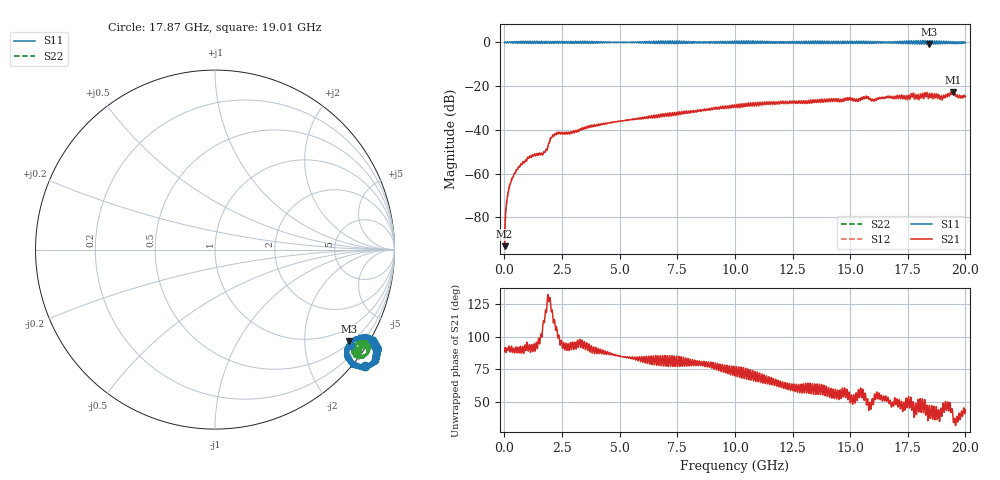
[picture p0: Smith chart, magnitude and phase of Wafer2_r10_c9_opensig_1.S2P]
!  2-Port S-parameters saved by WinCal
! VAR NAME=Wafer2_r10_c9_opensig
! VAR DATE=26/04/2024 16:52:37
! VAR FILENAME=Wafer2_r10_c9_opensig_1.S2P
! VAR MeasName=S-Parameters (CALIBRATED_DATA) read from VNA (P5004A)
! VAR MeasDate=26/04/2024 16:28:33
! VAR PHYS_PORTS=1,2
! VAR ObjTypeName=DATASET
! VAR IndexType=Frequency
# Hz S MA R 50
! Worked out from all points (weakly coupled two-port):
!   1999 points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, 10.01 MHz to 20 GHz, reference 50 ohm
!   highest |S21| = -22.68 dB at 19.46 GHz (marker M1); lowest = -93.2 dB at 10.01 MHz (marker M2)
!   lowest |S11| = -0.9 dB at 18.41 GHz (marker M3), VSWR 20.14, Z = 27.7 - j157 ohm
!   |S11| at or under -10 dB: nowhere
!   |S22| runs from -0.6 to 0.6 dB; largest |S21 - S12| = 0.0093
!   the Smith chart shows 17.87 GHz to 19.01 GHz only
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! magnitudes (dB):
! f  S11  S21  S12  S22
! 10.01 MHz  -0.2  -93.2  -93.0  -0.2
! 170.1 MHz  -0.1  -68.3  -68.2  -0.1
! 260.1 MHz  -0.1  -64.6  -64.7  -0.1
! 450.2 MHz  -0.1  -60.0  -60.0  -0.1
! 670.3 MHz  -0.4  -56.9  -56.9  -0.4
! 1.071 GHz  -0.4  -52.9  -52.9  -0.4
! 1.711 GHz  0.4  -50.1  -50.2  0.4
! 1.821 GHz  0.2  -49.0  -49.0  0.2
! 2.031 GHz  -0.2  -43.6  -43.6  -0.2
! 2.181 GHz  0.2  -42.0  -42.0  0.2
! 3.342 GHz  -0.4  -40.1  -40.0  -0.4
! 6.673 GHz  0.3  -33.4  -33.1  0.3
! 10.01 GHz  0.1  -29.2  -29.5  0.0
! 13.35 GHz  -0.5  -27.6  -27.3  -0.3
! 15.29 GHz  0.5  -25.9  -26.1  0.4
! 15.72 GHz  -0.4  -25.5  -25.6  -0.2
! 16 GHz  0.2  -26.2  -26.6  0.2
! 16.68 GHz  0.2  -24.7  -25.3  0.0
! 18.41 GHz  -0.9  -25.3  -25.2  -0.3
! 18.97 GHz  0.5  -24.8  -25.3  -0.2
! 19.46 GHz  0.3  -22.7  -22.9  -0.1
! 20 GHz  -0.5  -24.9  -25.0  -0.2
